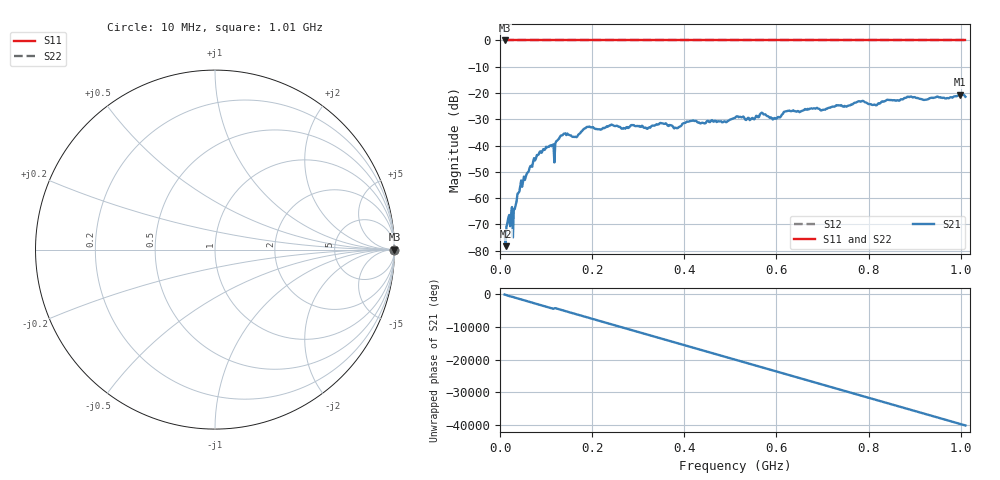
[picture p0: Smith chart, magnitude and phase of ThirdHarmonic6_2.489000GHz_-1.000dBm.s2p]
! 8/17/2025 4:41:58 AM
! C:\ANRITSUVNA\TEMP\TEMP.S2P
! CHANNEL.1
! TR.MEASUREMENT
! RAW.DATA
! RF.CORRECTION.OFF
! AVERAGING.OFF
! IF.BANDWIDTH: 5KHZ
! SWEEPTYPE:  FREQ.SWEEP(Linear)
! Reference Plane Port Info
! PORT:  PORT1  PORT2
! DISTANCE:  0  m  0  m
! TIME:  0  s  0  s
! PHASE.OFFSET:  0  deg.  0  deg.
! LOSS:  0  dB  0  dB
! REF.LOSS:  0  dB  0  dB
! REF.FREQ:  0  Hz  0  Hz
! Power Info
! POWER:  -20  dBm  -20  dBm
! EFF.POWER:  -20  dBm  -20  dBm
! SOURCE.ATTEN:  0  dB  0  dB
! TEST.ATTEN:  0  dB  0  dB
# GHZ S RI R 50.0
! FREQ.GHZ  S11RE  S11IM  S21RE  S21IM  S12RE  S12IM  S22RE  S22IM
!; PortSelection: Port_12
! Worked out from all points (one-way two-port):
!   501 points, 10 MHz to 1.01 GHz, reference 50 ohm
!   highest |S21| = -20.61 dB at 998 MHz (marker M1); lowest = -78.3 dB at 12 MHz (marker M2)
!   lowest |S11| = 0.0 dB at 10 MHz (marker M3)
!   |S11| at or under -10 dB: nowhere
!   |S22| runs from 0.0 to 0.0 dB; largest |S21 - S12| = 1.1
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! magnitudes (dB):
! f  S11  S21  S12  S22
! 10 MHz  0.0  -73.0  0.0  0.0
! 12 MHz  0.0  -78.3  0.0  0.0
! 22 MHz  0.0  -70.7  0.0  0.0
! 24 MHz  0.0  -66.3  0.0  0.0
! 32 MHz  0.0  -64.1  0.0  0.0
! 34 MHz  0.0  -62.6  0.0  0.0
! 48 MHz  0.0  -55.6  0.0  0.0
! 84 MHz  0.0  -43.4  0.0  0.0
! 116 MHz  0.0  -39.5  0.0  0.0
! 136 MHz  0.0  -36.0  0.0  0.0
! 164 MHz  0.0  -36.6  0.0  0.0
! 178 MHz  0.0  -34.5  0.0  0.0
! 344 MHz  0.0  -32.0  0.0  0.0
! 382 MHz  0.0  -33.3  0.0  0.0
! 416 MHz  0.0  -30.5  0.0  0.0
! 510 MHz  0.0  -29.5  0.0  0.0
! 570 MHz  0.0  -27.7  0.0  0.0
! 596 MHz  0.0  -29.5  0.0  0.0
! 678 MHz  0.0  -25.9  0.0  0.0
! 844 MHz  0.0  -22.6  0.0  0.0
! 998 MHz  0.0  -20.6  0.0  0.0
! 1.01 GHz  0.0  -21.4  0.0  0.0
